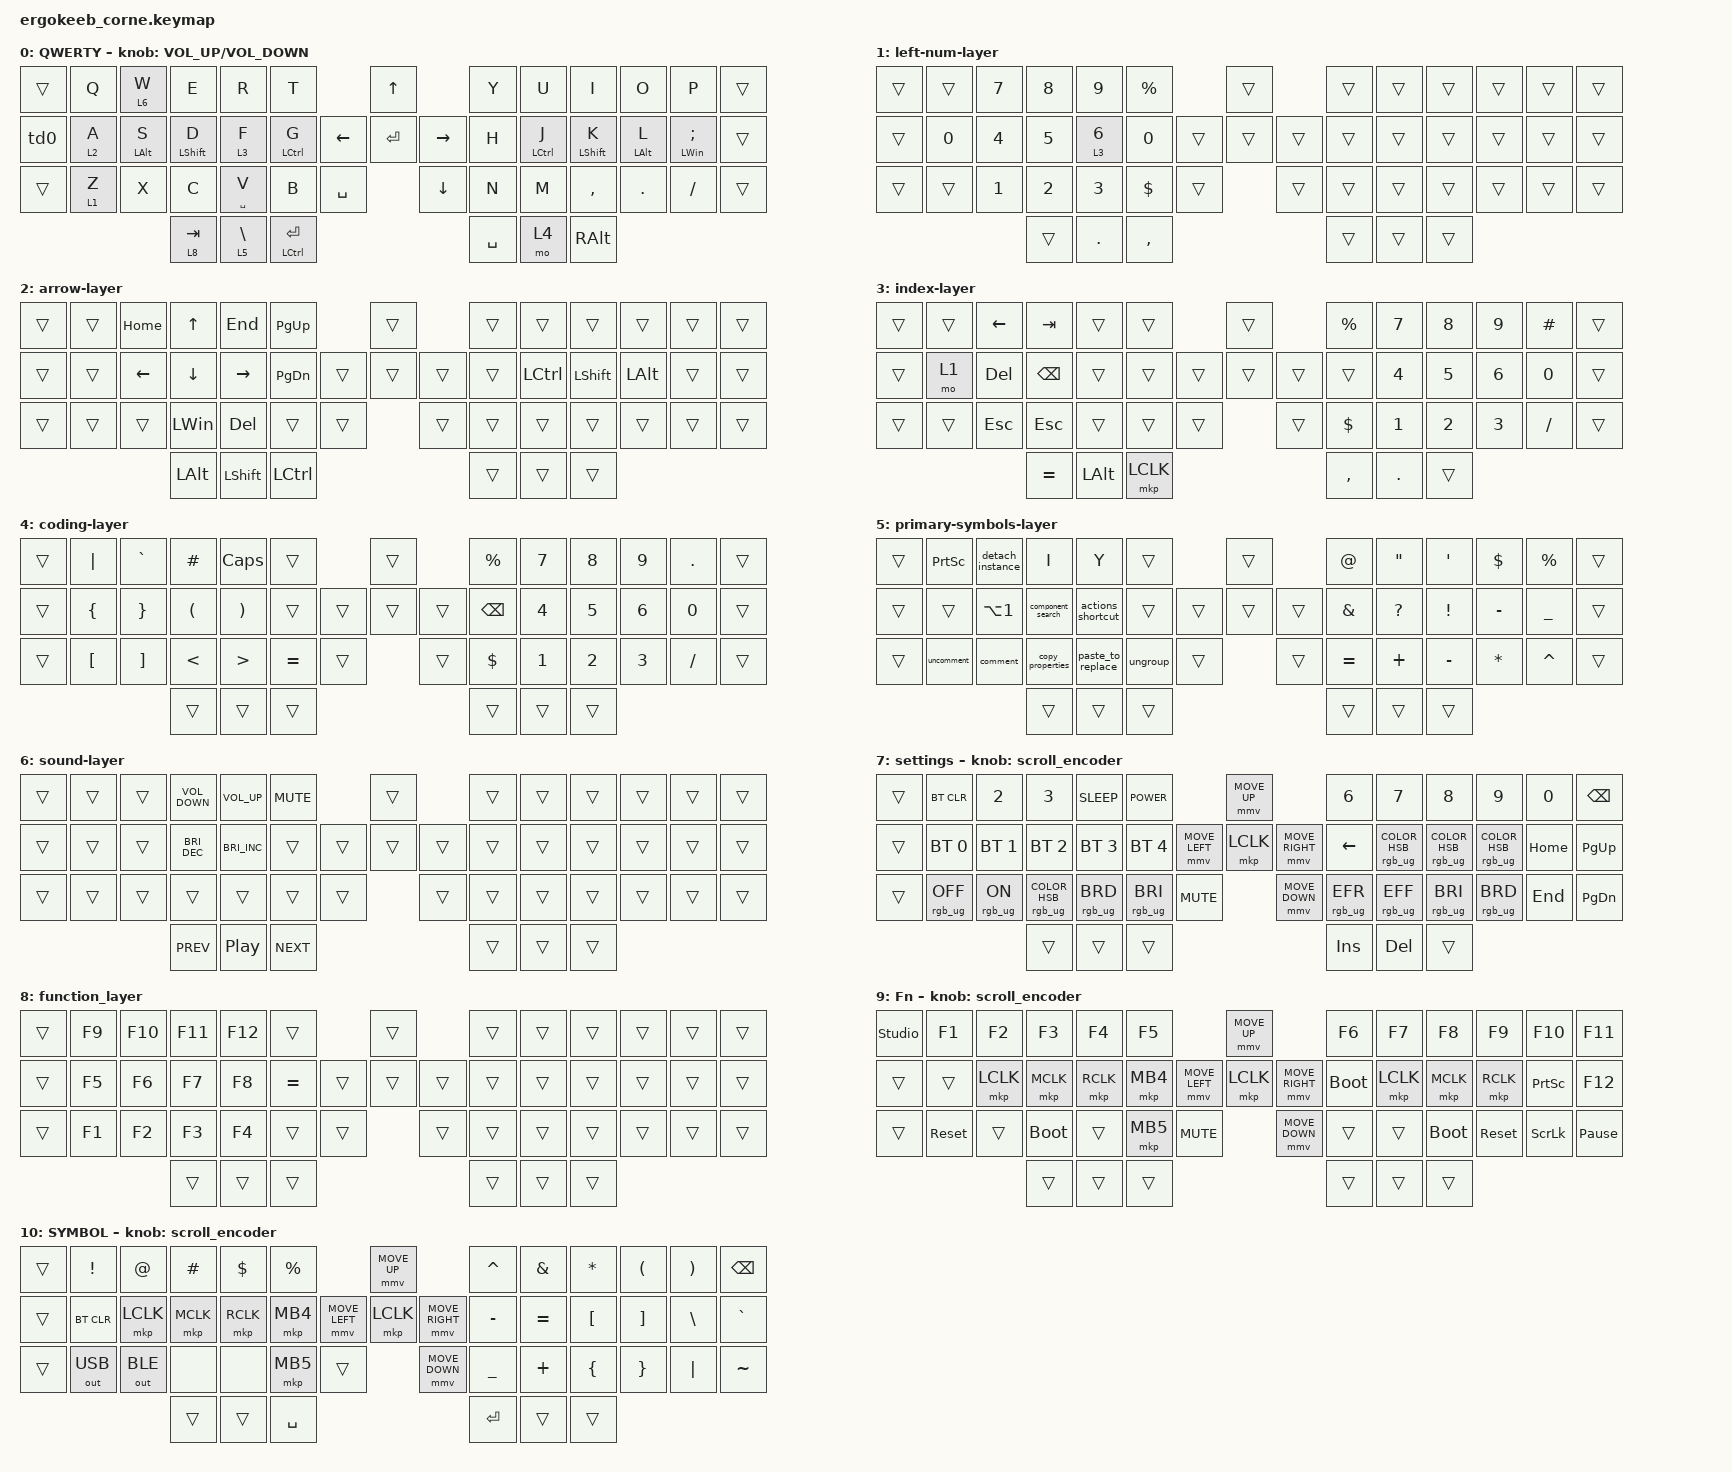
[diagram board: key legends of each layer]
#include <dt-bindings/zmk/mouse.h>
#include <input/processors.dtsi>
#include <behaviors.dtsi>
#include <dt-bindings/zmk/bt.h>
#include <dt-bindings/zmk/keys.h>
#include <dt-bindings/zmk/outputs.h>
#include <dt-bindings/zmk/pointing.h>
#include <dt-bindings/zmk/rgb.h>

/*

   &mmv_input_listener {
       input-processors = <&zip_xy_scaler 2 1>;
   };

   &msc_input_listener {
       input-processors = <&zip_xy_scaler 2 1>;
   };

 */

#define ZMK_MOUSE_DEFAULT_MOVE_VAL 1200  // 600
#define ZMK_MOUSE_DEFAULT_SCRL_VAL 20    // 10

&mt { flavor = "balanced"; };

/ {
    behaviors {
        td0: td0 {
            compatible = "zmk,behavior-tap-dance";
            display-name = "Shift/Caps Lock Tap Dance";
            #binding-cells = <0>;
            bindings = <&kp LEFT_SHIFT>, <&kp CAPS>;
        };
    };

    rgb_encoder: rgb_encoder {
        compatible = "zmk,behavior-sensor-rotate";
        #sensor-binding-cells = <0>;
        bindings = <&rgb_ug RGB_BRI>, <&rgb_ug RGB_BRD>;
    };

    scroll_encoder: scroll_encoder {
        compatible = "zmk,behavior-sensor-rotate";
        #sensor-binding-cells = <0>;
        bindings = <&msc SCRL_DOWN>, <&msc SCRL_UP>;

        tap-ms = <30>;
    };

    combos {
        compatible = "zmk,combos";

        sleep {
            bindings = <&kp C_SLEEP>;
            key-positions = <15 16 17>;
        };

        combo-escape {
            bindings = <&kp ESCAPE>;
            key-positions = <30 31>;
        };
    };

    macros {
        detach_instance: detach_instance {
            compatible = "zmk,behavior-macro";
            #binding-cells = <0>;
            bindings =
                <&macro_press>,
                <&kp LEFT_ALT &kp LCTRL>,
                <&macro_tap>,
                <&kp B>,
                <&macro_release>,
                <&kp LEFT_ALT &kp LCTRL>;

            label = "DETACH_INSTANCE";
        };

        toggle_UI: toggle_UI {
            compatible = "zmk,behavior-macro";
            #binding-cells = <0>;
            bindings =
                <&macro_press>,
                <&kp LCTRL>,
                <&macro_tap>,
                <&kp BACKSLASH>,
                <&macro_release>,
                <&kp LCTRL>;

            label = "TOGGLE_UI";
        };

        paste_to_replace: paste_to_replace {
            compatible = "zmk,behavior-macro";
            #binding-cells = <0>;
            bindings =
                <&macro_press>,
                <&kp LEFT_SHIFT &kp LCTRL>,
                <&macro_tap>,
                <&kp R>,
                <&macro_release>,
                <&kp LEFT_SHIFT &kp LCTRL>;

            label = "PASTE_TO_REPLACE";
        };

        ungroup: ungroup {
            compatible = "zmk,behavior-macro";
            #binding-cells = <0>;
            bindings =
                <&macro_press>,
                <&kp LCTRL>,
                <&macro_tap>,
                <&kp BACKSPACE>,
                <&macro_release>,
                <&kp LCTRL>;

            label = "UNGROUP";
        };

        screenshot: screenshot {
            compatible = "zmk,behavior-macro";
            #binding-cells = <0>;
            bindings =
                <&macro_press>,
                <&kp LEFT_WIN &kp LEFT_SHIFT>,
                <&macro_tap>,
                <&kp S>,
                <&macro_release>,
                <&kp LEFT_WIN &kp LEFT_SHIFT>;

            label = "SCREENSHOT";
        };

        figma_AI: figma_AI {
            compatible = "zmk,behavior-macro";
            #binding-cells = <0>;
            bindings =
                <&macro_press>,
                <&kp LCTRL>,
                <&macro_tap>,
                <&kp K>,
                <&macro_release>,
                <&kp LCTRL>;

            label = "FIGMA_AI";
        };

        copy_properties: copy_properties {
            compatible = "zmk,behavior-macro";
            #binding-cells = <0>;
            bindings =
                <&macro_press>,
                <&kp LEFT_ALT &kp LCTRL>,
                <&macro_tap>,
                <&kp C>,
                <&macro_release>,
                <&kp LEFT_ALT &kp LCTRL>;

            label = "COPY_PROPERTIES";
        };

        comment: comment {
            compatible = "zmk,behavior-macro";
            #binding-cells = <0>;
            bindings =
                <&macro_press>,
                <&kp LCTRL>,
                <&macro_tap>,
                <&kp K &kp C>,
                <&macro_release>,
                <&kp LCTRL>;

            label = "COMMENT";
        };

        uncomment: uncomment {
            compatible = "zmk,behavior-macro";
            #binding-cells = <0>;
            bindings =
                <&macro_press>,
                <&kp LCTRL>,
                <&macro_tap>,
                <&kp K &kp U>,
                <&macro_release>,
                <&kp LCTRL>;

            label = "UNCOMMENT";
        };

        row_height: row_height {
            compatible = "zmk,behavior-macro";
            #binding-cells = <0>;
            bindings =
                <&macro_press>,
                <&kp LEFT_ALT>,
                <&macro_tap>,
                <&kp H &kp O &kp H>,
                <&macro_release>,
                <&kp LEFT_ALT>;

            label = "ROW_HEIGHT";
        };

        column_width: column_width {
            compatible = "zmk,behavior-macro";
            #binding-cells = <0>;
            bindings =
                <&macro_press>,
                <&kp LEFT_ALT>,
                <&macro_tap>,
                <&kp H &kp O &kp W>,
                <&macro_release>,
                <&kp LEFT_ALT>;

            label = "COLUMN_WIDTH";
        };

        switch: switch {
            compatible = "zmk,behavior-macro";
            #binding-cells = <0>;
            bindings =
                <&macro_tap>,
                <&kp S &kp W &kp I &kp T &kp C &kp H &kp ENTER>;

            label = "SWITCH";
        };

        component_search: component_search {
            compatible = "zmk,behavior-macro";
            #binding-cells = <0>;
            bindings =
                <&macro_press>,
                <&kp LEFT_SHIFT>,
                <&macro_tap>,
                <&kp I>,
                <&macro_release>,
                <&kp LEFT_SHIFT>;

            label = "COMPONENT_SEARCH";
        };

        actions_shortcut: new_macro {
            compatible = "zmk,behavior-macro";
            #binding-cells = <0>;
            bindings =
                <&macro_press>,
                <&kp LCTRL>,
                <&macro_tap>,
                <&kp K>,
                <&macro_release>,
                <&kp LCTRL>;

            label = "NEW_MACRO";
        };
    };

    keymap {
        compatible = "zmk,keymap";

        default_layer {
            display-name = "QWERTY";
            bindings = <
&trans  &kp Q    &lt 6 W         &kp E             &kp R            &kp T                                   &kp UP                &kp Y      &kp U        &kp I             &kp O           &kp P              &trans
&td0    &lt 2 A  &mt LEFT_ALT S  &mt LEFT_SHIFT D  &lt 3 F          &mt LCTRL G                   &kp LEFT  &kp ENTER  &kp RIGHT  &kp H      &mt LCTRL J  &mt LEFT_SHIFT K  &mt LEFT_ALT L  &mt LEFT_WIN SEMI  &trans
&trans  &lt 1 Z  &kp X           &kp C             &mt SPACE V      &kp B            &kp SPACE              &kp DOWN              &kp N      &kp M        &kp COMMA         &kp DOT         &kp FSLH           &trans
                                 &lt 8 TAB         &lt 5 BACKSLASH  &mt LCTRL ENTER                                               &kp SPACE  &mo 4        &kp RALT
            >;

            sensor-bindings = <&inc_dec_kp C_VOLUME_UP C_VOLUME_DOWN>;
        };

        left-num-layer {
            bindings = <
&trans  &trans  &kp N7        &kp N8        &kp N9          &kp PERCENT                    &trans          &trans  &trans  &trans  &trans  &trans  &trans
&trans  &kp N0  &kp NUMBER_4  &kp N5        &lt 3 NUMBER_6  &kp N0                 &trans  &trans  &trans  &trans  &trans  &trans  &trans  &trans  &trans
&trans  &trans  &kp NUMBER_1  &kp NUMBER_2  &kp NUMBER_3    &kp DOLLAR   &trans            &trans          &trans  &trans  &trans  &trans  &trans  &trans
                              &trans        &kp PERIOD      &kp COMMA                                      &trans  &trans  &trans
            >;
        };

        arrow-layer {
            bindings = <
&trans  &trans  &kp HOME        &kp UP_ARROW  &kp END          &kp PAGE_UP                      &trans          &trans  &trans     &trans          &trans        &trans  &trans
&trans  &trans  &kp LEFT_ARROW  &kp DOWN      &kp RIGHT_ARROW  &kp PAGE_DOWN            &trans  &trans  &trans  &trans  &kp LCTRL  &kp LEFT_SHIFT  &kp LEFT_ALT  &trans  &trans
&trans  &trans  &trans          &kp LEFT_WIN  &kp DELETE       &trans         &trans            &trans          &trans  &trans     &trans          &trans        &trans  &trans
                                &kp LEFT_ALT  &kp LEFT_SHIFT   &kp LCTRL                                        &trans  &trans     &trans
            >;
        };

        index-layer {
            bindings = <
&trans  &trans  &kp LEFT_ARROW  &kp TAB        &trans        &trans                       &trans          &kp PERCENT  &kp N7        &kp N8        &kp N9        &kp HASH   &trans
&trans  &mo 1   &kp DELETE      &kp BACKSPACE  &trans        &trans               &trans  &trans  &trans  &trans       &kp NUMBER_4  &kp N5        &kp NUMBER_6  &kp N0     &trans
&trans  &trans  &kp ESCAPE      &kp ESCAPE     &trans        &trans     &trans            &trans          &kp DOLLAR   &kp NUMBER_1  &kp NUMBER_2  &kp NUMBER_3  &kp SLASH  &trans
                                &kp EQUAL      &kp LEFT_ALT  &mkp LCLK                                    &kp COMMA    &kp PERIOD    &trans
            >;
        };

        coding-layer {
            bindings = <
&trans  &kp PIPE          &kp GRAVE          &kp HASH              &kp CAPS               &trans                       &trans          &kp PERCENT    &kp NUMBER_7  &kp N8        &kp N9        &kp PERIOD  &trans
&trans  &kp LEFT_BRACE    &kp RIGHT_BRACE    &kp LEFT_PARENTHESIS  &kp RIGHT_PARENTHESIS  &trans               &trans  &trans  &trans  &kp BACKSPACE  &kp NUMBER_4  &kp N5        &kp NUMBER_6  &kp N0      &trans
&trans  &kp LEFT_BRACKET  &kp RIGHT_BRACKET  &kp LESS_THAN         &kp GREATER_THAN       &kp EQUAL  &trans            &trans          &kp DOLLAR     &kp NUMBER_1  &kp NUMBER_2  &kp NUMBER_3  &kp SLASH   &trans
                                             &trans                &trans                 &trans                                       &trans         &trans        &trans
            >;
        };

        primary-symbols-layer {
            bindings = <
&trans  &kp PSCRN   &detach_instance  &kp I              &kp Y              &trans                      &trans          &kp AT_SIGN    &kp DOUBLE_QUOTES  &kp SINGLE_QUOTE  &kp DOLLAR    &kp PERCENT     &trans
&trans  &trans      &kp LA(NUMBER_1)  &component_search  &actions_shortcut  &trans              &trans  &trans  &trans  &kp AMPERSAND  &kp QUESTION       &kp EXCLAMATION   &kp MINUS     &kp UNDERSCORE  &trans
&trans  &uncomment  &comment          &copy_properties   &paste_to_replace  &ungroup  &trans            &trans          &kp EQUAL      &kp PLUS           &kp MINUS         &kp ASTERISK  &kp CARET       &trans
                                      &trans             &trans             &trans                                      &trans         &trans             &trans
            >;
        };

        sound-layer {
            bindings = <
&trans  &trans  &trans  &kp C_VOLUME_DOWN     &kp C_VOLUME_UP       &kp C_MUTE                    &trans          &trans  &trans  &trans  &trans  &trans  &trans
&trans  &trans  &trans  &kp C_BRIGHTNESS_DEC  &kp C_BRIGHTNESS_INC  &trans                &trans  &trans  &trans  &trans  &trans  &trans  &trans  &trans  &trans
&trans  &trans  &trans  &trans                &trans                &trans      &trans            &trans          &trans  &trans  &trans  &trans  &trans  &trans
                        &kp C_PREV            &kp C_PP              &kp C_NEXT                                    &trans  &trans  &trans
            >;
        };

        settings-layer {
            display-name = "settings";
            bindings = <
&trans  &bt BT_CLR       &kp N2          &kp N3                            &kp C_SLEEP      &kp C_POWER                                    &mmv MOVE_UP                     &kp N6           &kp N7                            &kp N8                            &kp N9                            &kp N0    &kp BSPC
&trans  &bt BT_SEL 0     &bt BT_SEL 1    &bt BT_SEL 2                      &bt BT_SEL 3     &bt BT_SEL 4                   &mmv MOVE_LEFT  &mkp LCLK       &mmv MOVE_RIGHT  &kp LEFT         &rgb_ug RGB_COLOR_HSB(33,100,50)  &rgb_ug RGB_COLOR_HSB(251,47,36)  &rgb_ug RGB_COLOR_HSB(177,38,30)  &kp HOME  &kp PG_UP
&trans  &rgb_ug RGB_OFF  &rgb_ug RGB_ON  &rgb_ug RGB_COLOR_HSB(254,73,72)  &rgb_ug RGB_BRD  &rgb_ug RGB_BRI  &kp C_MUTE                    &mmv MOVE_DOWN                   &rgb_ug RGB_EFR  &rgb_ug RGB_EFF                   &rgb_ug RGB_BRI                   &rgb_ug RGB_BRD                   &kp END   &kp PG_DN
                                         &trans                            &trans           &trans                                                                          &kp INS          &kp DEL                           &trans
            >;

            sensor-bindings = <&scroll_encoder>;
        };

        function_layer {
            bindings = <
&trans  &kp F9  &kp F10  &kp F11  &kp F12  &trans                       &trans          &trans  &trans  &trans  &trans  &trans  &trans
&trans  &kp F5  &kp F6   &kp F7   &kp F8   &kp EQUAL            &trans  &trans  &trans  &trans  &trans  &trans  &trans  &trans  &trans
&trans  &kp F1  &kp F2   &kp F3   &kp F4   &trans     &trans            &trans          &trans  &trans  &trans  &trans  &trans  &trans
                         &trans   &trans   &trans                                       &trans  &trans  &trans
            >;
        };

        layer_3 {
            display-name = "Fn";
            bindings = <
&studio_unlock  &kp F1      &kp F2     &kp F3       &kp F4     &kp F5                                  &mmv MOVE_UP                     &kp F6       &kp F7     &kp F8       &kp F9      &kp F10          &kp F11
&trans          &trans      &mkp LCLK  &mkp MCLK    &mkp RCLK  &mkp MB4                &mmv MOVE_LEFT  &mkp LCLK       &mmv MOVE_RIGHT  &bootloader  &mkp LCLK  &mkp MCLK    &mkp RCLK   &kp PRINTSCREEN  &kp F12
&trans          &sys_reset  &trans     &bootloader  &trans     &mkp MB5  &kp C_MUTE                    &mmv MOVE_DOWN                   &trans       &trans     &bootloader  &sys_reset  &kp SCROLLLOCK   &kp PAUSE_BREAK
                                       &trans       &trans     &trans                                                                   &trans       &trans     &trans
            >;

            sensor-bindings = <&scroll_encoder>;
        };

        raise_layer {
            display-name = "SYMBOL";
            bindings = <
&trans  &kp EXCL      &kp AT        &kp HASH   &kp DLLR   &kp PRCNT                            &mmv MOVE_UP                     &kp CARET  &kp AMPS   &kp ASTRK  &kp LPAR  &kp RPAR  &kp BSPC
&trans  &bt BT_CLR    &mkp LCLK     &mkp MCLK  &mkp RCLK  &mkp MB4             &mmv MOVE_LEFT  &mkp LCLK       &mmv MOVE_RIGHT  &kp MINUS  &kp EQUAL  &kp LBKT   &kp RBKT  &kp BSLH  &kp GRAVE
&trans  &out OUT_USB  &out OUT_BLE  &none      &none      &mkp MB5   &trans                    &mmv MOVE_DOWN                   &kp UNDER  &kp PLUS   &kp LBRC   &kp RBRC  &kp PIPE  &kp TILDE
                                    &trans     &trans     &kp SPACE                                                             &kp RET    &trans     &trans
            >;

            sensor-bindings = <&scroll_encoder>;
        };
    };

    conditional_layers {
        compatible = "zmk,conditional-layers";

        settings-layer {
            if-layers = <5 4>;
            then-layer = <7>;
        };
    };
};
